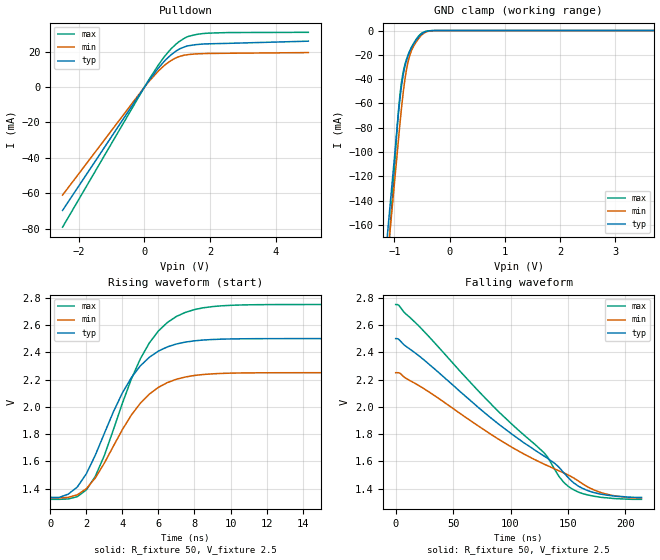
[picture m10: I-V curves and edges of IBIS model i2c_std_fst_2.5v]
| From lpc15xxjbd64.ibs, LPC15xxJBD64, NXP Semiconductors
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[Model]   i2c_std_fst_2.5v
Model_type I/O_open_drain
Vinl=7.500E-01
Vinh=1.750E+00
Vref=2.500E+00
Rref=2.000E+03
Cref=0.000E+00
Vmeas=1.250E+00
C_comp   2.010E-12   2.010E-12   2.010E-12
[Voltage Range]   2.500E+00   2.250E+00   2.750E+00
[POWER Clamp Reference]   2.500E+00   2.250E+00   2.750E+00
[GND Clamp Reference]   0.000E+00   0.000E+00   0.000E+00
[Pullup Reference]   2.500E+00   2.250E+00   2.750E+00
[Pulldown Reference]   0.000E+00   0.000E+00   0.000E+00
[Temperature Range]   25   85   -40
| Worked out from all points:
|   slope of the pulldown table from 0 to 0.375 V, typ, clamps not added: 39.4 ohm
|   GND clamp passes 1 mA (typ) near -0.44 V on its own axis
|   rising waveform, R_fixture 50, V_fixture 2.5: 20-80 % time 2.59ns typ, 2.63ns min, 2.6ns max; typ from 1.34 V to 2.5 V
|   falling waveform, R_fixture 50, V_fixture 2.5: 20-80 % time 105ns typ, 110ns min, 99.6ns max; typ from 2.5 V to 1.34 V
[GND Clamp]
-2.5V     -855.8mA   -864.5mA   -1.076A
-1.02V    -114.5mA   -135.6mA   -125.7mA
-960mV    -84.05mA   -106.2mA   -86.15mA
-920mV    -64.87mA   -86.33mA   -62.54mA
-880mV    -48.71mA   -67.39mA   -45.23mA
-840mV    -36.34mA   -50.69mA   -33.86mA
-780mV    -24.34mA   -31.78mA   -23.51mA
-720mV    -16.88mA   -20.26mA   -16.52mA
-620mV    -8.86mA    -10.44mA   -8.205mA
-480mV    -1.947mA   -2.73mA    -1.503mA
-260mV    0A         0A         0A
5V        0A         0A         0A
[Pulldown]
-2.5V     -69.61mA   -60.98mA   -79.07mA
120mV     3.252mA    2.799mA    3.74mA
400mV     10.13mA    8.598mA    11.78mA
600mV     14.46mA    12.11mA    16.99mA
800mV     17.99mA    14.83mA    21.33mA
1.02V     20.98mA    16.96mA    25.12mA
1.34V     23.3mA     18.34mA    28.62mA
1.78V     24.3mA     18.87mA    30.2mA
2.56V     24.68mA    19.08mA    30.77mA
5V        25.9mA     19.46mA    30.9mA
[Rising Waveform]
R_fixture = 50
V_fixture = 2.5
V_fixture_min = 2.25
V_fixture_max = 2.75
0s        1.336V     1.332V     1.322V
1ns       1.36V      1.337V     1.325V
2ns       1.509V     1.4V       1.391V
3ns       1.805V     1.587V     1.643V
4.5ns     2.214V     1.94V      2.204V
5ns       2.301V     2.027V     2.353V
6ns       2.409V     2.143V     2.556V
7.5ns     2.475V     2.219V     2.692V
11ns      2.499V     2.249V     2.748V
29.5ns    2.5V       2.25V      2.75V
[Falling Waveform]
R_fixture = 50
V_fixture = 2.5
V_fixture_min = 2.25
V_fixture_max = 2.75
0s        2.5V       2.25V      2.75V
21.5ns    2.365V     2.149V     2.581V
87.5ns    1.888V     1.773V     1.982V
129ns     1.64V      1.58V      1.665V
142.5ns   1.554V     1.529V     1.486V
150ns     1.483V     1.501V     1.419V
159.5ns   1.416V     1.454V     1.373V
172ns     1.373V     1.393V     1.345V
190ns     1.346V     1.349V     1.328V
214ns     1.336V     1.332V     1.322V
[Ramp]
dV/dt_r   6.9842E-01/2.5630E-09   5.5101E-01/2.5970E-09   8.5693E-01/2.5820E-09
dV/dt_f   6.9842E-01/1.0545E-07   5.5101E-01/1.0989E-07   8.5693E-01/9.9679E-08
R_load = 50
